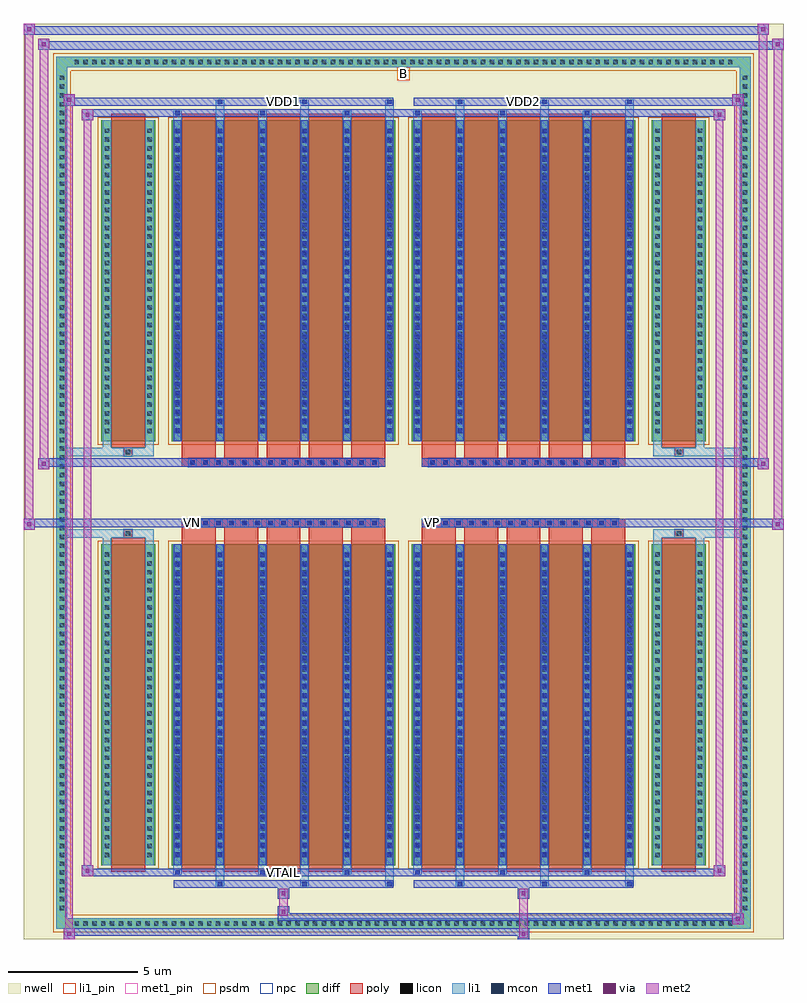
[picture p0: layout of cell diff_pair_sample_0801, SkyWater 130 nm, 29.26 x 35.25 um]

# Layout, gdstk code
import gdstk
lib = gdstk.Library(unit=1e-6, precision=5e-09)
def R(c, l, rs):  # rectangles x0, y0, x1, y1
    for r in rs: c.add(gdstk.rectangle(r[:2], r[2:], *l))
def A(c, l, x, y, w, h, nx, ny, dx, dy):  # array of equal rectangles
    R(c, l, [(x+i*dx, y+j*dy, x+i*dx+w, y+j*dy+h) for i in range(nx) for j in range(ny)])
def P(c, l, *ps):  # polygons
    for p in ps: c.add(gdstk.Polygon(p, *l))
nwell = (64, 20)
diff = (65, 20)
poly = (66, 20)
licon = (66, 44)
li1_pin = (67, 16)
li1 = (67, 20)
mcon = (67, 44)
met1_pin = (68, 16)
met1 = (68, 20)
via = (68, 44)
met2 = (69, 20)
psdm = (94, 20)
npc = (95, 20)

diff_pair_sample_0801 = lib.new_cell('diff_pair_sample_0801')
R(diff_pair_sample_0801, nwell, [(-14.63,-17.19,14.63,18.06), (-11.95,-15.38,-0.01,-0.8), (0.01,-15.38,11.95,-0.8), (-11.95,0.8,-0.01,15.38), (0.01,0.8,11.95,15.38)])
A(diff_pair_sample_0801, diff, -12.785, -16.79, 0.41, 0.41, 75, 2, 0.34, 33.17)
A(diff_pair_sample_0801, diff, -13.36, -16.185, 0.41, 0.41, 1, 95, 0, 0.34)
A(diff_pair_sample_0801, diff, 12.95, -16.185, 0.41, 0.41, 1, 95, 0, 0.34)
R(diff_pair_sample_0801, diff, [(-12.785,-16.79,12.785,-16.38), (-13.36,-16.185,-12.95,16.185), (12.95,-16.185,13.36,16.185), (-11.64,-14.335,-9.56,-1.985), (-8.92,-14.335,-0.32,-1.985), (0.32,-14.335,8.92,-1.985), (9.56,-14.335,11.64,-1.985), (-11.64,1.985,-9.56,14.335), (-8.92,1.985,-0.32,14.335), (0.32,1.985,8.92,14.335), (9.56,1.985,11.64,14.335), (-12.785,16.38,12.785,16.79)])
P(diff_pair_sample_0801, diff, [(13.36,16.79),(-13.36,16.79),(-13.36,-16.38),(-12.95,-16.38),(-12.95,16.38),(12.95,16.38),(12.95,-16.38),(-12.95,-16.38),(-13.36,-16.38),(-13.36,-16.79),(13.36,-16.79)])
A(diff_pair_sample_0801, poly, -8.53, -14.585, 1.3, 12.85, 5, 2, 1.63, 16.32)
A(diff_pair_sample_0801, poly, 0.71, -14.585, 1.3, 12.85, 5, 2, 1.63, 16.32)
A(diff_pair_sample_0801, poly, -8.53, -1.735, 1.3, 0.405, 5, 2, 1.63, 3.065)
A(diff_pair_sample_0801, poly, 0.71, -1.735, 1.3, 0.405, 5, 2, 1.63, 3.065)
A(diff_pair_sample_0801, poly, -8.285, -1.33, 0.33, 0.33, 15, 2, 0.5, 2.33)
A(diff_pair_sample_0801, poly, 0.955, -1.33, 0.33, 0.33, 15, 2, 0.5, 2.33)
R(diff_pair_sample_0801, poly, [(-11.25,-14.585,-9.95,-1.735), (9.95,-14.585,11.25,-1.735), (-10.765,-1.735,-10.435,-1.405), (-10.765,-1.735,-10.435,-1.405), (10.435,-1.735,10.765,-1.405), (10.435,-1.735,10.765,-1.405), (-8.53,-1.33,-0.71,-1), (0.71,-1.33,8.53,-1), (-8.53,1,-0.71,1.33), (0.71,1,8.53,1.33), (-10.765,1.405,-10.435,1.735), (-10.765,1.405,-10.435,1.735), (10.435,1.405,10.765,1.735), (10.435,1.405,10.765,1.735), (-11.25,1.735,-9.95,14.585), (9.95,1.735,11.25,14.585)])
A(diff_pair_sample_0801, licon, -12.665, -16.67, 0.17, 0.17, 75, 2, 0.34, 33.17)
A(diff_pair_sample_0801, licon, -13.24, -16.065, 0.17, 0.17, 1, 95, 0, 0.34)
A(diff_pair_sample_0801, licon, 13.07, -16.065, 0.17, 0.17, 1, 95, 0, 0.34)
A(diff_pair_sample_0801, licon, -11.5, -14.025, 0.17, 0.17, 1, 35, 0, 0.34)
A(diff_pair_sample_0801, licon, -9.87, -14.025, 0.17, 0.17, 1, 35, 0, 0.34)
A(diff_pair_sample_0801, licon, -8.78, -14.025, 0.17, 0.17, 6, 35, 1.63, 0.34)
A(diff_pair_sample_0801, licon, 0.46, -14.025, 0.17, 0.17, 6, 35, 1.63, 0.34)
A(diff_pair_sample_0801, licon, 9.7, -14.025, 0.17, 0.17, 1, 35, 0, 0.34)
A(diff_pair_sample_0801, licon, 11.33, -14.025, 0.17, 0.17, 1, 35, 0, 0.34)
A(diff_pair_sample_0801, licon, -8.205, -1.25, 0.17, 0.17, 15, 2, 0.5, 2.33)
A(diff_pair_sample_0801, licon, 1.035, -1.25, 0.17, 0.17, 15, 2, 0.5, 2.33)
A(diff_pair_sample_0801, licon, -11.5, 2.295, 0.17, 0.17, 1, 35, 0, 0.34)
A(diff_pair_sample_0801, licon, -9.87, 2.295, 0.17, 0.17, 1, 35, 0, 0.34)
A(diff_pair_sample_0801, licon, -8.78, 2.295, 0.17, 0.17, 6, 35, 1.63, 0.34)
A(diff_pair_sample_0801, licon, 0.46, 2.295, 0.17, 0.17, 6, 35, 1.63, 0.34)
A(diff_pair_sample_0801, licon, 9.7, 2.295, 0.17, 0.17, 1, 35, 0, 0.34)
A(diff_pair_sample_0801, licon, 11.33, 2.295, 0.17, 0.17, 1, 35, 0, 0.34)
R(diff_pair_sample_0801, licon, [(-10.685,-1.655,-10.515,-1.485), (10.515,-1.655,10.685,-1.485), (-10.685,1.485,-10.515,1.655), (10.515,1.485,10.685,1.655)])
R(diff_pair_sample_0801, li1_pin, [(-0.25,15.88,0.25,16.38)])
A(diff_pair_sample_0801, li1, -12.745, -16.75, 0.33, 0.33, 75, 2, 0.34, 33.17)
A(diff_pair_sample_0801, li1, -13.32, -16.145, 0.33, 0.33, 1, 95, 0, 0.34)
A(diff_pair_sample_0801, li1, 12.99, -16.145, 0.33, 0.33, 1, 95, 0, 0.34)
A(diff_pair_sample_0801, li1, -7.23, -15.14, 0.33, 0.805, 3, 2, 3.26, 29.475)
A(diff_pair_sample_0801, li1, -7.15, -15.14, 0.17, 0.17, 3, 2, 3.26, 30.11)
A(diff_pair_sample_0801, li1, 2.01, -15.14, 0.33, 0.805, 3, 2, 3.26, 29.475)
A(diff_pair_sample_0801, li1, 2.09, -15.14, 0.17, 0.17, 3, 2, 3.26, 30.11)
A(diff_pair_sample_0801, li1, -8.86, -14.71, 0.33, 0.375, 3, 2, 3.26, 29.045)
A(diff_pair_sample_0801, li1, -8.78, -14.71, 0.17, 0.17, 3, 2, 3.26, 29.25)
A(diff_pair_sample_0801, li1, 0.38, -14.71, 0.33, 0.375, 3, 2, 3.26, 29.045)
A(diff_pair_sample_0801, li1, 0.46, -14.71, 0.17, 0.17, 3, 2, 3.26, 29.25)
A(diff_pair_sample_0801, li1, -8.86, -14.335, 0.33, 12.35, 6, 2, 1.63, 16.32)
A(diff_pair_sample_0801, li1, 0.38, -14.335, 0.33, 12.35, 6, 2, 1.63, 16.32)
A(diff_pair_sample_0801, li1, -11.58, -14.105, 0.33, 0.33, 1, 35, 0, 0.34)
A(diff_pair_sample_0801, li1, -9.95, -14.105, 0.33, 0.33, 1, 35, 0, 0.34)
A(diff_pair_sample_0801, li1, -8.86, -14.105, 0.33, 0.33, 6, 35, 1.63, 0.34)
A(diff_pair_sample_0801, li1, 0.38, -14.105, 0.33, 0.33, 6, 35, 1.63, 0.34)
A(diff_pair_sample_0801, li1, 9.62, -14.105, 0.33, 0.33, 1, 35, 0, 0.34)
A(diff_pair_sample_0801, li1, 11.25, -14.105, 0.33, 0.33, 1, 35, 0, 0.34)
A(diff_pair_sample_0801, li1, -8.78, -14.005, 0.17, 0.17, 6, 33, 1.63, 0.36)
A(diff_pair_sample_0801, li1, -8.78, -14.005, 0.17, 11.69, 6, 2, 1.63, 16.32)
A(diff_pair_sample_0801, li1, 0.46, -14.005, 0.17, 0.17, 6, 33, 1.63, 0.36)
A(diff_pair_sample_0801, li1, 0.46, -14.005, 0.17, 11.69, 6, 2, 1.63, 16.32)
A(diff_pair_sample_0801, li1, -8.285, -1.33, 0.33, 0.33, 15, 2, 0.5, 2.33)
A(diff_pair_sample_0801, li1, 0.955, -1.33, 0.33, 0.33, 15, 2, 0.5, 2.33)
A(diff_pair_sample_0801, li1, -11.58, 2.215, 0.33, 0.33, 1, 35, 0, 0.34)
A(diff_pair_sample_0801, li1, -9.95, 2.215, 0.33, 0.33, 1, 35, 0, 0.34)
A(diff_pair_sample_0801, li1, -8.86, 2.215, 0.33, 0.33, 6, 35, 1.63, 0.34)
A(diff_pair_sample_0801, li1, 0.38, 2.215, 0.33, 0.33, 6, 35, 1.63, 0.34)
A(diff_pair_sample_0801, li1, 9.62, 2.215, 0.33, 0.33, 1, 35, 0, 0.34)
A(diff_pair_sample_0801, li1, 11.25, 2.215, 0.33, 0.33, 1, 35, 0, 0.34)
A(diff_pair_sample_0801, li1, -8.78, 2.315, 0.17, 0.17, 6, 33, 1.63, 0.36)
A(diff_pair_sample_0801, li1, 0.46, 2.315, 0.17, 0.17, 6, 33, 1.63, 0.36)
R(diff_pair_sample_0801, li1, [(-13.36,-16.79,-12.95,-16.38), (-13.36,-16.79,-12.95,-16.38), (-12.95,-16.79,12.95,-16.38), (12.95,-16.79,13.36,-16.38), (12.95,-16.79,13.36,-16.38), (-13.36,-16.38,-12.95,16.38), (12.95,-16.38,13.36,16.38), (-11.58,-14.335,-11.25,-1.985), (-9.95,-14.335,-9.62,-1.985), (9.62,-14.335,9.95,-1.985), (11.25,-14.335,11.58,-1.985), (-11.58,-1.985,-11.25,-1.405), (-9.95,-1.985,-9.62,-1.405), (9.62,-1.985,9.95,-1.405), (11.25,-1.985,11.58,-1.405), (-13.36,-1.735,-10.765,-1.405), (-11.58,-1.735,-10.765,-1.405), (-10.765,-1.735,-10.435,-1.405), (-10.435,-1.735,-9.62,-1.405), (9.62,-1.735,10.435,-1.405), (10.435,-1.735,10.765,-1.405), (10.435,-1.735,13.36,-1.405), (10.765,-1.735,11.58,-1.405), (-13.36,1.405,-10.765,1.735), (-11.58,1.405,-10.765,1.735), (-11.58,1.405,-11.25,1.985), (-10.765,1.405,-10.435,1.735), (-10.435,1.405,-9.62,1.735), (-9.95,1.405,-9.62,1.985), (9.62,1.405,10.435,1.735), (9.62,1.405,9.95,1.985), (10.435,1.405,10.765,1.735), (10.435,1.405,13.36,1.735), (10.765,1.405,11.58,1.735), (11.25,1.405,11.58,1.985), (-11.58,1.985,-11.25,14.335), (-9.95,1.985,-9.62,14.335), (9.62,1.985,9.95,14.335), (11.25,1.985,11.58,14.335), (-13.36,16.38,-12.95,16.79), (-13.36,16.38,-12.95,16.79), (-12.95,16.38,12.95,16.79), (12.95,16.38,13.36,16.79), (12.95,16.38,13.36,16.79)])
A(diff_pair_sample_0801, mcon, -7.15, -15.14, 0.17, 0.17, 3, 2, 3.26, 30.11)
A(diff_pair_sample_0801, mcon, 2.09, -15.14, 0.17, 0.17, 3, 2, 3.26, 30.11)
A(diff_pair_sample_0801, mcon, -8.78, -14.71, 0.17, 0.17, 3, 2, 3.26, 29.25)
A(diff_pair_sample_0801, mcon, 0.46, -14.71, 0.17, 0.17, 3, 2, 3.26, 29.25)
A(diff_pair_sample_0801, mcon, -8.78, -14.005, 0.17, 0.17, 6, 33, 1.63, 0.36)
A(diff_pair_sample_0801, mcon, 0.46, -14.005, 0.17, 0.17, 6, 33, 1.63, 0.36)
A(diff_pair_sample_0801, mcon, -8.205, -1.25, 0.17, 0.17, 15, 2, 0.5, 2.33)
A(diff_pair_sample_0801, mcon, 1.035, -1.25, 0.17, 0.17, 15, 2, 0.5, 2.33)
A(diff_pair_sample_0801, mcon, -8.78, 2.315, 0.17, 0.17, 6, 33, 1.63, 0.36)
A(diff_pair_sample_0801, mcon, 0.46, 2.315, 0.17, 0.17, 6, 33, 1.63, 0.36)
R(diff_pair_sample_0801, met1_pin, [(-4.755,-14.75,-4.485,-14.48), (-8.255,-1.29,-7.985,-1.02), (0.985,-1.29,1.255,-1.02), (-4.755,14.93,-4.485,15.2), (4.485,14.93,4.755,15.2)])
A(diff_pair_sample_0801, met1, -7.21, -15.2, 0.29, 0.29, 3, 2, 3.26, 30.11)
A(diff_pair_sample_0801, met1, 2.03, -15.2, 0.29, 0.29, 3, 2, 3.26, 30.11)
A(diff_pair_sample_0801, met1, -8.84, -14.77, 0.29, 0.29, 3, 2, 3.26, 29.25)
A(diff_pair_sample_0801, met1, 0.4, -14.77, 0.29, 0.29, 3, 2, 3.26, 29.25)
A(diff_pair_sample_0801, met1, -8.84, -14.335, 0.29, 12.35, 6, 2, 1.63, 16.32)
A(diff_pair_sample_0801, met1, 0.4, -14.335, 0.29, 12.35, 6, 2, 1.63, 16.32)
A(diff_pair_sample_0801, met1, -8.84, -14.065, 0.29, 0.29, 6, 33, 1.63, 0.36)
A(diff_pair_sample_0801, met1, 0.4, -14.065, 0.29, 0.29, 6, 33, 1.63, 0.36)
A(diff_pair_sample_0801, met1, -8.265, -1.31, 0.29, 0.29, 15, 2, 0.5, 2.33)
A(diff_pair_sample_0801, met1, 0.975, -1.31, 0.29, 0.29, 15, 2, 0.5, 2.33)
A(diff_pair_sample_0801, met1, -8.84, 2.255, 0.29, 0.29, 6, 33, 1.63, 0.36)
A(diff_pair_sample_0801, met1, 0.4, 2.255, 0.29, 0.29, 6, 33, 1.63, 0.36)
R(diff_pair_sample_0801, met1, [(-13.09,-17.19,-12.66,-16.76), (4.405,-17.19,4.835,-16.76), (-13.09,-17.05,4.835,-16.76), (12.66,-16.62,13.09,-16.19), (-4.835,-16.48,13.09,-16.19), (-4.835,-16.34,-4.405,-15.91), (-4.835,-15.63,-4.405,-15.2), (4.405,-15.63,4.835,-15.2), (-8.84,-15.2,-0.4,-14.91), (0.4,-15.2,8.84,-14.91), (-12.38,-14.77,-11.95,-14.34), (-12.38,-14.77,-8.84,-14.48), (-8.84,-14.77,-0.4,-14.48), (-0.4,-14.77,0.4,-14.48), (0.4,-14.77,8.84,-14.48), (8.84,-14.77,12.38,-14.48), (11.95,-14.77,12.38,-14.34), (-14.63,-1.43,-14.2,-1), (14.2,-1.43,14.63,-1), (-14.63,-1.33,-0.71,-1), (-8.53,-1.33,-0.71,-1), (0.71,-1.33,8.53,-1), (0.71,-1.33,14.63,-1), (-14.06,0.9,-13.63,1.33), (13.63,0.9,14.06,1.33), (-14.06,1,-8.53,1.33), (-8.53,1,-0.71,1.33), (0.71,1,8.53,1.33), (8.53,1,14.06,1.33), (-12.38,14.34,-11.95,14.77), (11.95,14.34,12.38,14.77), (-12.38,14.48,-8.84,14.77), (-8.84,14.48,-0.4,14.77), (-0.4,14.48,0.4,14.77), (0.4,14.48,8.84,14.77), (8.84,14.48,12.38,14.77), (-13.09,14.91,-12.66,15.34), (-13.09,14.91,-8.84,15.2), (-8.84,14.91,-0.4,15.2), (0.4,14.91,8.84,15.2), (8.84,14.91,13.09,15.2), (12.66,14.91,13.09,15.34), (-14.06,17.06,-13.63,17.49), (-14.06,17.06,-11.95,17.39), (-11.95,17.06,11.95,17.39), (11.95,17.06,14.63,17.39), (14.2,17.06,14.63,17.49), (-14.63,17.63,-14.2,18.06), (-14.63,17.63,-11.95,17.96), (-11.95,17.63,11.95,17.96), (11.95,17.63,14.06,17.96), (13.63,17.63,14.06,18.06)])
R(diff_pair_sample_0801, via, [(-12.95,-17.05,-12.8,-16.9), (4.545,-17.05,4.695,-16.9), (12.8,-16.48,12.95,-16.33), (-4.695,-16.2,-4.545,-16.05), (-4.695,-15.49,-4.545,-15.34), (4.545,-15.49,4.695,-15.34), (-12.24,-14.63,-12.09,-14.48), (12.09,-14.63,12.24,-14.48), (-14.49,-1.29,-14.34,-1.14), (14.34,-1.29,14.49,-1.14), (-13.92,1.04,-13.77,1.19), (13.77,1.04,13.92,1.19), (-12.24,14.48,-12.09,14.63), (12.09,14.48,12.24,14.63), (-12.95,15.05,-12.8,15.2), (12.8,15.05,12.95,15.2), (-13.92,17.2,-13.77,17.35), (14.34,17.2,14.49,17.35), (-14.49,17.77,-14.34,17.92), (13.77,17.77,13.92,17.92)])
R(diff_pair_sample_0801, met2, [(-13.09,-17.19,-12.66,-16.76), (-13.02,-17.19,-12.73,15.34), (-12.73,-17.19,-12.66,-16.76), (-13.04,-17.14,-12.71,-16.81), (4.455,-17.14,4.785,-16.81), (4.455,-16.81,4.785,-15.58), (12.66,-16.62,13.09,-16.19), (12.73,-16.62,13.02,15.34), (13.02,-16.62,13.09,-16.19), (12.71,-16.57,13.04,-16.24), (-4.785,-16.29,-4.455,-15.96), (-4.785,-15.96,-4.455,-15.58), (-4.785,-15.58,-4.455,-15.25), (4.455,-15.58,4.785,-15.25), (-12.38,-14.77,-11.95,-14.34), (-12.31,-14.77,-12.02,14.77), (-12.02,-14.77,-11.95,-14.34), (11.95,-14.77,12.38,-14.34), (12.02,-14.77,12.31,14.77), (12.31,-14.77,12.38,-14.34), (-12.33,-14.72,-12,-14.39), (12,-14.72,12.33,-14.39), (-14.63,-1.43,-14.2,-1), (-14.58,-1.43,-14.25,18.06), (-14.25,-1.43,-14.2,-1), (14.2,-1.43,14.63,-1), (14.25,-1.43,14.58,17.49), (14.58,-1.43,14.63,-1), (-14.58,-1.38,-14.25,-1.05), (14.25,-1.38,14.58,-1.05), (-14.06,0.9,-13.63,1.33), (-14.01,0.9,-13.68,17.49), (-13.68,0.9,-13.63,1.33), (13.63,0.9,14.06,1.33), (13.68,0.9,14.01,18.06), (14.01,0.9,14.06,1.33), (-14.01,0.95,-13.68,1.28), (13.68,0.95,14.01,1.28), (-12.38,14.34,-11.95,14.77), (-12.02,14.34,-11.95,14.77), (11.95,14.34,12.38,14.77), (12.31,14.34,12.38,14.77), (-12.33,14.39,-12,14.72), (12,14.39,12.33,14.72), (-13.09,14.91,-12.66,15.34), (-12.73,14.91,-12.66,15.34), (12.66,14.91,13.09,15.34), (13.02,14.91,13.09,15.34), (-13.04,14.96,-12.71,15.29), (12.71,14.96,13.04,15.29), (-14.06,17.06,-13.63,17.49), (-13.68,17.06,-13.63,17.49), (14.2,17.06,14.63,17.49), (14.58,17.06,14.63,17.49), (-14.01,17.11,-13.68,17.44), (14.25,17.11,14.58,17.44), (-14.63,17.63,-14.2,18.06), (-14.25,17.63,-14.2,18.06), (13.63,17.63,14.06,18.06), (14.01,17.63,14.06,18.06), (-14.58,17.68,-14.25,18.01), (13.68,17.68,14.01,18.01)])
R(diff_pair_sample_0801, psdm, [(-11.77,-14.465,-9.43,-1.855), (-9.05,-14.465,-0.19,-1.855), (0.19,-14.465,9.05,-1.855), (9.43,-14.465,11.77,-1.855), (-11.77,1.855,-9.43,14.465), (-9.05,1.855,-0.19,14.465), (0.19,1.855,9.05,14.465), (9.43,1.855,11.77,14.465)])
P(diff_pair_sample_0801, psdm, [(13.49,16.92),(-13.49,16.92),(-13.49,-16.25),(-12.82,-16.25),(-12.82,16.25),(12.82,16.25),(12.82,-16.25),(-12.82,-16.25),(-13.49,-16.25),(-13.49,-16.92),(13.49,-16.92)])
A(diff_pair_sample_0801, npc, -8.305, -1.35, 0.37, 0.37, 15, 2, 0.5, 2.33)
A(diff_pair_sample_0801, npc, 0.935, -1.35, 0.37, 0.37, 15, 2, 0.5, 2.33)
R(diff_pair_sample_0801, npc, [(-10.785,-1.755,-10.415,-1.385), (10.415,-1.755,10.785,-1.385), (-8.305,-1.35,-7.435,-0.98), (-8.305,-1.35,-7.435,-0.98), (-7.805,-1.35,-6.935,-0.98), (-7.805,-1.35,-6.935,-0.98), (-7.305,-1.35,-6.435,-0.98), (-7.305,-1.35,-6.435,-0.98), (-6.805,-1.35,-5.935,-0.98), (-6.805,-1.35,-5.935,-0.98), (-6.305,-1.35,-5.435,-0.98), (-6.305,-1.35,-5.435,-0.98), (-5.805,-1.35,-4.935,-0.98), (-5.805,-1.35,-4.935,-0.98), (-5.305,-1.35,-4.435,-0.98), (-5.305,-1.35,-4.435,-0.98), (-4.805,-1.35,-3.935,-0.98), (-4.805,-1.35,-3.935,-0.98), (-4.305,-1.35,-3.435,-0.98), (-4.305,-1.35,-3.435,-0.98), (-3.805,-1.35,-2.935,-0.98), (-3.805,-1.35,-2.935,-0.98), (-3.305,-1.35,-2.435,-0.98), (-3.305,-1.35,-2.435,-0.98), (-2.805,-1.35,-1.935,-0.98), (-2.805,-1.35,-1.935,-0.98), (-2.305,-1.35,-1.435,-0.98), (-2.305,-1.35,-1.435,-0.98), (-1.805,-1.35,-0.935,-0.98), (-1.805,-1.35,-0.935,-0.98), (0.935,-1.35,1.805,-0.98), (0.935,-1.35,1.805,-0.98), (1.435,-1.35,2.305,-0.98), (1.435,-1.35,2.305,-0.98), (1.935,-1.35,2.805,-0.98), (1.935,-1.35,2.805,-0.98), (2.435,-1.35,3.305,-0.98), (2.435,-1.35,3.305,-0.98), (2.935,-1.35,3.805,-0.98), (2.935,-1.35,3.805,-0.98), (3.435,-1.35,4.305,-0.98), (3.435,-1.35,4.305,-0.98), (3.935,-1.35,4.805,-0.98), (3.935,-1.35,4.805,-0.98), (4.435,-1.35,5.305,-0.98), (4.435,-1.35,5.305,-0.98), (4.935,-1.35,5.805,-0.98), (4.935,-1.35,5.805,-0.98), (5.435,-1.35,6.305,-0.98), (5.435,-1.35,6.305,-0.98), (5.935,-1.35,6.805,-0.98), (5.935,-1.35,6.805,-0.98), (6.435,-1.35,7.305,-0.98), (6.435,-1.35,7.305,-0.98), (6.935,-1.35,7.805,-0.98), (6.935,-1.35,7.805,-0.98), (7.435,-1.35,8.305,-0.98), (7.435,-1.35,8.305,-0.98), (-8.305,0.98,-7.435,1.35), (-8.305,0.98,-7.435,1.35), (-7.805,0.98,-6.935,1.35), (-7.805,0.98,-6.935,1.35), (-7.305,0.98,-6.435,1.35), (-7.305,0.98,-6.435,1.35), (-6.805,0.98,-5.935,1.35), (-6.805,0.98,-5.935,1.35), (-6.305,0.98,-5.435,1.35), (-6.305,0.98,-5.435,1.35), (-5.805,0.98,-4.935,1.35), (-5.805,0.98,-4.935,1.35), (-5.305,0.98,-4.435,1.35), (-5.305,0.98,-4.435,1.35), (-4.805,0.98,-3.935,1.35), (-4.805,0.98,-3.935,1.35), (-4.305,0.98,-3.435,1.35), (-4.305,0.98,-3.435,1.35), (-3.805,0.98,-2.935,1.35), (-3.805,0.98,-2.935,1.35), (-3.305,0.98,-2.435,1.35), (-3.305,0.98,-2.435,1.35), (-2.805,0.98,-1.935,1.35), (-2.805,0.98,-1.935,1.35), (-2.305,0.98,-1.435,1.35), (-2.305,0.98,-1.435,1.35), (-1.805,0.98,-0.935,1.35), (-1.805,0.98,-0.935,1.35), (0.935,0.98,1.805,1.35), (0.935,0.98,1.805,1.35), (1.435,0.98,2.305,1.35), (1.435,0.98,2.305,1.35), (1.935,0.98,2.805,1.35), (1.935,0.98,2.805,1.35), (2.435,0.98,3.305,1.35), (2.435,0.98,3.305,1.35), (2.935,0.98,3.805,1.35), (2.935,0.98,3.805,1.35), (3.435,0.98,4.305,1.35), (3.435,0.98,4.305,1.35), (3.935,0.98,4.805,1.35), (3.935,0.98,4.805,1.35), (4.435,0.98,5.305,1.35), (4.435,0.98,5.305,1.35), (4.935,0.98,5.805,1.35), (4.935,0.98,5.805,1.35), (5.435,0.98,6.305,1.35), (5.435,0.98,6.305,1.35), (5.935,0.98,6.805,1.35), (5.935,0.98,6.805,1.35), (6.435,0.98,7.305,1.35), (6.435,0.98,7.305,1.35), (6.935,0.98,7.805,1.35), (6.935,0.98,7.805,1.35), (7.435,0.98,8.305,1.35), (7.435,0.98,8.305,1.35), (-10.785,1.385,-10.415,1.755), (10.415,1.385,10.785,1.755)])
diff_pair_sample_0801.add(gdstk.Label('VTAIL', (-4.62,-14.615), layer=68, texttype=5))
diff_pair_sample_0801.add(gdstk.Label('VN', (-8.12,-1.155), layer=68, texttype=5))
diff_pair_sample_0801.add(gdstk.Label('VP', (1.12,-1.155), layer=68, texttype=5))
diff_pair_sample_0801.add(gdstk.Label('B', (0,16.13), layer=67, texttype=5))
diff_pair_sample_0801.add(gdstk.Label('VDD2', (4.62,15.065), layer=68, texttype=5))
diff_pair_sample_0801.add(gdstk.Label('VDD1', (-4.62,15.065), layer=68, texttype=5))

lib.write_gds('diff_pair_sample_0801.gds')
